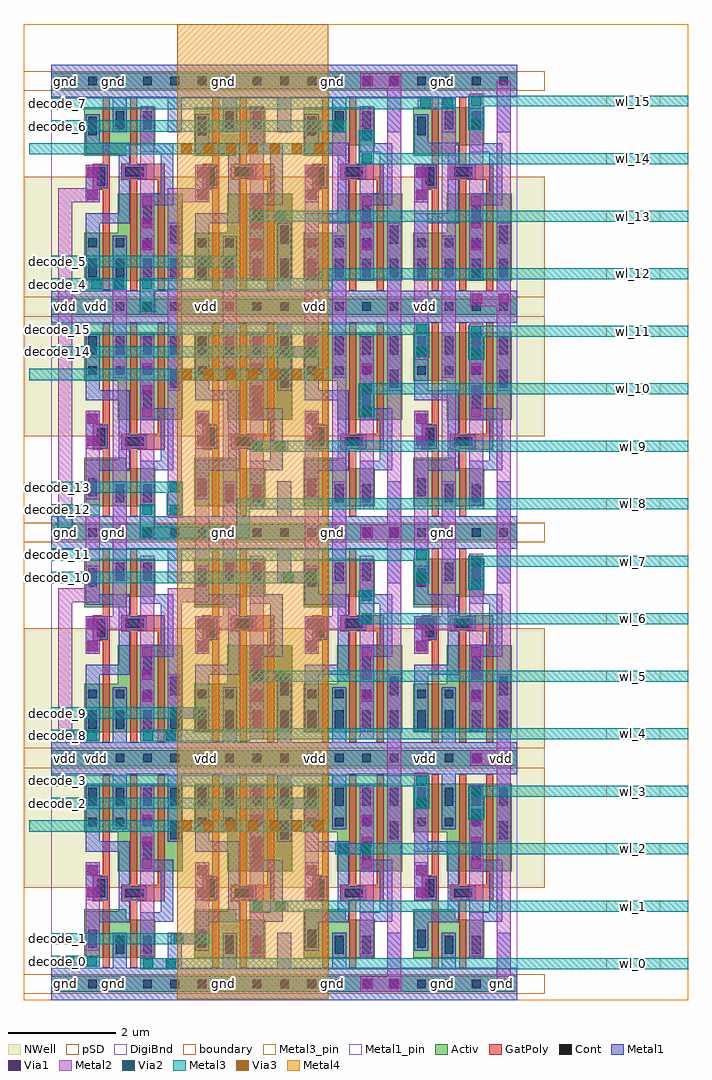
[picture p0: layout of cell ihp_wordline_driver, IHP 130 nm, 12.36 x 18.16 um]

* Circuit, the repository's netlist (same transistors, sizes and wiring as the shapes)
* ------------------------------------------------------
*
*		Copyright 2025 IHP PDK Authors
*
*		Licensed under the Apache License, Version 2.0 (the "License");
*		you may not use this file except in compliance with the License.
*		You may obtain a copy of the License at
*
*		   https://www.apache.org/licenses/LICENSE-2.0
*
*		Unless required by applicable law or agreed to in writing, software
*		distributed under the License is distributed on an "AS IS" BASIS,
*		WITHOUT WARRANTIES OR CONDITIONS OF ANY KIND, either express or implied.
*		See the License for the specific language governing permissions and
*		limitations under the License.
*
*		Generated on Thu Jul 30 11:38:32 2026
*
* ------------------------------------------------------
* Flattened from RM_IHPSG13_64x16_c2_1P_WLDRV16X4; unchanged W/L/m.
.subckt ihp_wordline_driver decode_15 decode_14 decode_13 decode_12 decode_11 decode_10 decode_9 decode_8 decode_7 decode_6 decode_5 decode_4 decode_3 decode_2 decode_1 decode_0 wl_15 wl_14 wl_13 wl_12 wl_11 wl_10 wl_9 wl_8 wl_7 wl_6 wl_5 wl_4 wl_3 wl_2 wl_1 wl_0 vdd gnd
Xinternal_XBUF<15>_MN1 wl_15 internal_XBUF<15>_net6 gnd gnd sg13_lv_nmos w=705.000n l=130.00n m=1
Xinternal_XBUF<15>_MN0 internal_XBUF<15>_net6 decode_15 gnd gnd sg13_lv_nmos w=900.0n l=130.00n m=1
Xinternal_XBUF<15>_MP1 wl_15 internal_XBUF<15>_net6 vdd vdd sg13_lv_pmos w=3.24u l=130.00n m=1
Xinternal_XBUF<15>_MP0 internal_XBUF<15>_net6 decode_15 vdd vdd sg13_lv_pmos w=900.0n l=130.00n m=1
Xinternal_XBUF<14>_MN1 wl_14 internal_XBUF<14>_net6 gnd gnd sg13_lv_nmos w=705.000n l=130.00n m=1
Xinternal_XBUF<14>_MN0 internal_XBUF<14>_net6 decode_14 gnd gnd sg13_lv_nmos w=900.0n l=130.00n m=1
Xinternal_XBUF<14>_MP1 wl_14 internal_XBUF<14>_net6 vdd vdd sg13_lv_pmos w=3.24u l=130.00n m=1
Xinternal_XBUF<14>_MP0 internal_XBUF<14>_net6 decode_14 vdd vdd sg13_lv_pmos w=900.0n l=130.00n m=1
Xinternal_XBUF<13>_MN1 wl_13 internal_XBUF<13>_net6 gnd gnd sg13_lv_nmos w=705.000n l=130.00n m=1
Xinternal_XBUF<13>_MN0 internal_XBUF<13>_net6 decode_13 gnd gnd sg13_lv_nmos w=900.0n l=130.00n m=1
Xinternal_XBUF<13>_MP1 wl_13 internal_XBUF<13>_net6 vdd vdd sg13_lv_pmos w=3.24u l=130.00n m=1
Xinternal_XBUF<13>_MP0 internal_XBUF<13>_net6 decode_13 vdd vdd sg13_lv_pmos w=900.0n l=130.00n m=1
Xinternal_XBUF<12>_MN1 wl_12 internal_XBUF<12>_net6 gnd gnd sg13_lv_nmos w=705.000n l=130.00n m=1
Xinternal_XBUF<12>_MN0 internal_XBUF<12>_net6 decode_12 gnd gnd sg13_lv_nmos w=900.0n l=130.00n m=1
Xinternal_XBUF<12>_MP1 wl_12 internal_XBUF<12>_net6 vdd vdd sg13_lv_pmos w=3.24u l=130.00n m=1
Xinternal_XBUF<12>_MP0 internal_XBUF<12>_net6 decode_12 vdd vdd sg13_lv_pmos w=900.0n l=130.00n m=1
Xinternal_XBUF<11>_MN1 wl_11 internal_XBUF<11>_net6 gnd gnd sg13_lv_nmos w=705.000n l=130.00n m=1
Xinternal_XBUF<11>_MN0 internal_XBUF<11>_net6 decode_11 gnd gnd sg13_lv_nmos w=900.0n l=130.00n m=1
Xinternal_XBUF<11>_MP1 wl_11 internal_XBUF<11>_net6 vdd vdd sg13_lv_pmos w=3.24u l=130.00n m=1
Xinternal_XBUF<11>_MP0 internal_XBUF<11>_net6 decode_11 vdd vdd sg13_lv_pmos w=900.0n l=130.00n m=1
Xinternal_XBUF<10>_MN1 wl_10 internal_XBUF<10>_net6 gnd gnd sg13_lv_nmos w=705.000n l=130.00n m=1
Xinternal_XBUF<10>_MN0 internal_XBUF<10>_net6 decode_10 gnd gnd sg13_lv_nmos w=900.0n l=130.00n m=1
Xinternal_XBUF<10>_MP1 wl_10 internal_XBUF<10>_net6 vdd vdd sg13_lv_pmos w=3.24u l=130.00n m=1
Xinternal_XBUF<10>_MP0 internal_XBUF<10>_net6 decode_10 vdd vdd sg13_lv_pmos w=900.0n l=130.00n m=1
Xinternal_XBUF<9>_MN1 wl_9 internal_XBUF<9>_net6 gnd gnd sg13_lv_nmos w=705.000n l=130.00n m=1
Xinternal_XBUF<9>_MN0 internal_XBUF<9>_net6 decode_9 gnd gnd sg13_lv_nmos w=900.0n l=130.00n m=1
Xinternal_XBUF<9>_MP1 wl_9 internal_XBUF<9>_net6 vdd vdd sg13_lv_pmos w=3.24u l=130.00n m=1
Xinternal_XBUF<9>_MP0 internal_XBUF<9>_net6 decode_9 vdd vdd sg13_lv_pmos w=900.0n l=130.00n m=1
Xinternal_XBUF<8>_MN1 wl_8 internal_XBUF<8>_net6 gnd gnd sg13_lv_nmos w=705.000n l=130.00n m=1
Xinternal_XBUF<8>_MN0 internal_XBUF<8>_net6 decode_8 gnd gnd sg13_lv_nmos w=900.0n l=130.00n m=1
Xinternal_XBUF<8>_MP1 wl_8 internal_XBUF<8>_net6 vdd vdd sg13_lv_pmos w=3.24u l=130.00n m=1
Xinternal_XBUF<8>_MP0 internal_XBUF<8>_net6 decode_8 vdd vdd sg13_lv_pmos w=900.0n l=130.00n m=1
Xinternal_XBUF<7>_MN1 wl_7 internal_XBUF<7>_net6 gnd gnd sg13_lv_nmos w=705.000n l=130.00n m=1
Xinternal_XBUF<7>_MN0 internal_XBUF<7>_net6 decode_7 gnd gnd sg13_lv_nmos w=900.0n l=130.00n m=1
Xinternal_XBUF<7>_MP1 wl_7 internal_XBUF<7>_net6 vdd vdd sg13_lv_pmos w=3.24u l=130.00n m=1
Xinternal_XBUF<7>_MP0 internal_XBUF<7>_net6 decode_7 vdd vdd sg13_lv_pmos w=900.0n l=130.00n m=1
Xinternal_XBUF<6>_MN1 wl_6 internal_XBUF<6>_net6 gnd gnd sg13_lv_nmos w=705.000n l=130.00n m=1
Xinternal_XBUF<6>_MN0 internal_XBUF<6>_net6 decode_6 gnd gnd sg13_lv_nmos w=900.0n l=130.00n m=1
Xinternal_XBUF<6>_MP1 wl_6 internal_XBUF<6>_net6 vdd vdd sg13_lv_pmos w=3.24u l=130.00n m=1
Xinternal_XBUF<6>_MP0 internal_XBUF<6>_net6 decode_6 vdd vdd sg13_lv_pmos w=900.0n l=130.00n m=1
Xinternal_XBUF<5>_MN1 wl_5 internal_XBUF<5>_net6 gnd gnd sg13_lv_nmos w=705.000n l=130.00n m=1
Xinternal_XBUF<5>_MN0 internal_XBUF<5>_net6 decode_5 gnd gnd sg13_lv_nmos w=900.0n l=130.00n m=1
Xinternal_XBUF<5>_MP1 wl_5 internal_XBUF<5>_net6 vdd vdd sg13_lv_pmos w=3.24u l=130.00n m=1
Xinternal_XBUF<5>_MP0 internal_XBUF<5>_net6 decode_5 vdd vdd sg13_lv_pmos w=900.0n l=130.00n m=1
Xinternal_XBUF<4>_MN1 wl_4 internal_XBUF<4>_net6 gnd gnd sg13_lv_nmos w=705.000n l=130.00n m=1
Xinternal_XBUF<4>_MN0 internal_XBUF<4>_net6 decode_4 gnd gnd sg13_lv_nmos w=900.0n l=130.00n m=1
Xinternal_XBUF<4>_MP1 wl_4 internal_XBUF<4>_net6 vdd vdd sg13_lv_pmos w=3.24u l=130.00n m=1
Xinternal_XBUF<4>_MP0 internal_XBUF<4>_net6 decode_4 vdd vdd sg13_lv_pmos w=900.0n l=130.00n m=1
Xinternal_XBUF<3>_MN1 wl_3 internal_XBUF<3>_net6 gnd gnd sg13_lv_nmos w=705.000n l=130.00n m=1
Xinternal_XBUF<3>_MN0 internal_XBUF<3>_net6 decode_3 gnd gnd sg13_lv_nmos w=900.0n l=130.00n m=1
Xinternal_XBUF<3>_MP1 wl_3 internal_XBUF<3>_net6 vdd vdd sg13_lv_pmos w=3.24u l=130.00n m=1
Xinternal_XBUF<3>_MP0 internal_XBUF<3>_net6 decode_3 vdd vdd sg13_lv_pmos w=900.0n l=130.00n m=1
Xinternal_XBUF<2>_MN1 wl_2 internal_XBUF<2>_net6 gnd gnd sg13_lv_nmos w=705.000n l=130.00n m=1
Xinternal_XBUF<2>_MN0 internal_XBUF<2>_net6 decode_2 gnd gnd sg13_lv_nmos w=900.0n l=130.00n m=1
Xinternal_XBUF<2>_MP1 wl_2 internal_XBUF<2>_net6 vdd vdd sg13_lv_pmos w=3.24u l=130.00n m=1
Xinternal_XBUF<2>_MP0 internal_XBUF<2>_net6 decode_2 vdd vdd sg13_lv_pmos w=900.0n l=130.00n m=1
Xinternal_XBUF<1>_MN1 wl_1 internal_XBUF<1>_net6 gnd gnd sg13_lv_nmos w=705.000n l=130.00n m=1
Xinternal_XBUF<1>_MN0 internal_XBUF<1>_net6 decode_1 gnd gnd sg13_lv_nmos w=900.0n l=130.00n m=1
Xinternal_XBUF<1>_MP1 wl_1 internal_XBUF<1>_net6 vdd vdd sg13_lv_pmos w=3.24u l=130.00n m=1
Xinternal_XBUF<1>_MP0 internal_XBUF<1>_net6 decode_1 vdd vdd sg13_lv_pmos w=900.0n l=130.00n m=1
Xinternal_XBUF<0>_MN1 wl_0 internal_XBUF<0>_net6 gnd gnd sg13_lv_nmos w=705.000n l=130.00n m=1
Xinternal_XBUF<0>_MN0 internal_XBUF<0>_net6 decode_0 gnd gnd sg13_lv_nmos w=900.0n l=130.00n m=1
Xinternal_XBUF<0>_MP1 wl_0 internal_XBUF<0>_net6 vdd vdd sg13_lv_pmos w=3.24u l=130.00n m=1
Xinternal_XBUF<0>_MP0 internal_XBUF<0>_net6 decode_0 vdd vdd sg13_lv_pmos w=900.0n l=130.00n m=1
.ends ihp_wordline_driver

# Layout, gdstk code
import gdstk
lib = gdstk.Library(unit=1e-6, precision=1e-09)
def R(c, l, rs):  # rectangles x0, y0, x1, y1
    for r in rs: c.add(gdstk.rectangle(r[:2], r[2:], *l))
def A(c, l, x, y, w, h, nx, ny, dx, dy):  # array of equal rectangles
    R(c, l, [(x+i*dx, y+j*dy, x+i*dx+w, y+j*dy+h) for i in range(nx) for j in range(ny)])
def P(c, l, *ps):  # polygons
    for p in ps: c.add(gdstk.Polygon(p, *l))
Activ = (1, 0)
GatPoly = (5, 0)
Cont = (6, 0)
Metal1 = (8, 0)
Metal1_pin = (8, 2)
Metal2 = (10, 0)
pSD = (14, 0)
DigiBnd = (16, 0)
Via1 = (19, 0)
Via2 = (29, 0)
Metal3 = (30, 0)
Metal3_pin = (30, 2)
NWell = (31, 0)
Via3 = (49, 0)
Metal4 = (50, 0)
boundary = (189, 4)

ihp_wordline_driver = lib.new_cell('ihp_wordline_driver')
A(ihp_wordline_driver, Activ, 0.51, 0.15, 8.67, 0.3, 1, 5, 0, 4.2)
P(ihp_wordline_driver, Activ, [(1.125,0.79),(1.125,1.69),(1.905,1.69),(1.905,1.495),(2.445,1.495),(2.445,0.79)],
  [(3.165,0.79),(3.165,1.69),(3.945,1.69),(3.945,1.495),(4.485,1.495),(4.485,0.79)],
  [(5.205,0.79),(5.205,1.69),(5.985,1.69),(5.985,1.495),(6.525,1.495),(6.525,0.79)],
  [(7.245,0.79),(7.245,1.69),(8.025,1.69),(8.025,1.495),(8.565,1.495),(8.565,0.79)],
  [(1.745,2.4),(1.745,3.12),(1.125,3.12),(1.125,4.02),(2.955,4.02),(2.955,2.4)],
  [(3.785,2.4),(3.785,3.12),(3.165,3.12),(3.165,4.02),(4.995,4.02),(4.995,2.4)],
  [(5.825,2.4),(5.825,3.12),(5.205,3.12),(5.205,4.02),(7.035,4.02),(7.035,2.4)],
  [(7.865,2.4),(7.865,3.12),(7.245,3.12),(7.245,4.02),(9.075,4.02),(9.075,2.4)],
  [(1.125,4.98),(1.125,5.88),(1.745,5.88),(1.745,6.6),(2.955,6.6),(2.955,4.98)],
  [(3.165,4.98),(3.165,5.88),(3.785,5.88),(3.785,6.6),(4.995,6.6),(4.995,4.98)],
  [(5.205,4.98),(5.205,5.88),(5.825,5.88),(5.825,6.6),(7.035,6.6),(7.035,4.98)],
  [(7.245,4.98),(7.245,5.88),(7.865,5.88),(7.865,6.6),(9.075,6.6),(9.075,4.98)],
  [(1.125,7.31),(1.125,8.21),(2.445,8.21),(2.445,7.505),(1.905,7.505),(1.905,7.31)],
  [(3.165,7.31),(3.165,8.21),(4.485,8.21),(4.485,7.505),(3.945,7.505),(3.945,7.31)],
  [(5.205,7.31),(5.205,8.21),(6.525,8.21),(6.525,7.505),(5.985,7.505),(5.985,7.31)],
  [(7.245,7.31),(7.245,8.21),(8.565,8.21),(8.565,7.505),(8.025,7.505),(8.025,7.31)],
  [(1.125,9.19),(1.125,10.09),(1.905,10.09),(1.905,9.895),(2.445,9.895),(2.445,9.19)],
  [(3.165,9.19),(3.165,10.09),(3.945,10.09),(3.945,9.895),(4.485,9.895),(4.485,9.19)],
  [(5.205,9.19),(5.205,10.09),(5.985,10.09),(5.985,9.895),(6.525,9.895),(6.525,9.19)],
  [(7.245,9.19),(7.245,10.09),(8.025,10.09),(8.025,9.895),(8.565,9.895),(8.565,9.19)],
  [(1.745,10.8),(1.745,11.52),(1.125,11.52),(1.125,12.42),(2.955,12.42),(2.955,10.8)],
  [(3.785,10.8),(3.785,11.52),(3.165,11.52),(3.165,12.42),(4.995,12.42),(4.995,10.8)],
  [(5.825,10.8),(5.825,11.52),(5.205,11.52),(5.205,12.42),(7.035,12.42),(7.035,10.8)],
  [(7.865,10.8),(7.865,11.52),(7.245,11.52),(7.245,12.42),(9.075,12.42),(9.075,10.8)],
  [(1.125,13.38),(1.125,14.28),(1.745,14.28),(1.745,15),(2.955,15),(2.955,13.38)],
  [(3.165,13.38),(3.165,14.28),(3.785,14.28),(3.785,15),(4.995,15),(4.995,13.38)],
  [(5.205,13.38),(5.205,14.28),(5.825,14.28),(5.825,15),(7.035,15),(7.035,13.38)],
  [(7.245,13.38),(7.245,14.28),(7.865,14.28),(7.865,15),(9.075,15),(9.075,13.38)],
  [(1.125,15.71),(1.125,16.61),(2.445,16.61),(2.445,15.905),(1.905,15.905),(1.905,15.71)],
  [(3.165,15.71),(3.165,16.61),(4.485,16.61),(4.485,15.905),(3.945,15.905),(3.945,15.71)],
  [(5.205,15.71),(5.205,16.61),(6.525,16.61),(6.525,15.905),(5.985,15.905),(5.985,15.71)],
  [(7.245,15.71),(7.245,16.61),(8.565,16.61),(8.565,15.905),(8.025,15.905),(8.025,15.71)])
P(ihp_wordline_driver, GatPoly, [(1.465,0.6),(1.465,1.84),(1.28,1.84),(1.28,2.32),(1.465,2.32),(1.465,4.2),(1.595,4.2),(1.595,0.6)],
  [(1.975,0.6),(1.975,1.84),(1.805,1.84),(1.805,2.14),(1.975,2.14),(1.975,4.2),(2.105,4.2),(2.105,2.14),(2.485,2.14),(2.485,4.2),(2.615,4.2),(2.615,1.84),(2.105,1.84),(2.105,0.6)],
  [(3.505,0.6),(3.505,1.84),(3.32,1.84),(3.32,2.32),(3.505,2.32),(3.505,4.2),(3.635,4.2),(3.635,0.6)],
  [(4.015,0.6),(4.015,1.84),(3.845,1.84),(3.845,2.14),(4.015,2.14),(4.015,4.2),(4.145,4.2),(4.145,2.14),(4.525,2.14),(4.525,4.2),(4.655,4.2),(4.655,1.84),(4.145,1.84),(4.145,0.6)],
  [(5.545,0.6),(5.545,1.84),(5.36,1.84),(5.36,2.32),(5.545,2.32),(5.545,4.2),(5.675,4.2),(5.675,0.6)],
  [(6.055,0.6),(6.055,1.84),(5.885,1.84),(5.885,2.14),(6.055,2.14),(6.055,4.2),(6.185,4.2),(6.185,2.14),(6.565,2.14),(6.565,4.2),(6.695,4.2),(6.695,1.84),(6.185,1.84),(6.185,0.6)],
  [(7.585,0.6),(7.585,1.84),(7.4,1.84),(7.4,2.32),(7.585,2.32),(7.585,4.2),(7.715,4.2),(7.715,0.6)],
  [(8.095,0.6),(8.095,1.84),(7.925,1.84),(7.925,2.14),(8.095,2.14),(8.095,4.2),(8.225,4.2),(8.225,2.14),(8.605,2.14),(8.605,4.2),(8.735,4.2),(8.735,1.84),(8.225,1.84),(8.225,0.6)],
  [(1.465,4.8),(1.465,6.68),(1.28,6.68),(1.28,7.16),(1.465,7.16),(1.465,8.4),(1.595,8.4),(1.595,4.8)],
  [(1.975,4.8),(1.975,6.86),(1.805,6.86),(1.805,7.16),(1.975,7.16),(1.975,8.4),(2.105,8.4),(2.105,7.16),(2.615,7.16),(2.615,4.8),(2.485,4.8),(2.485,6.86),(2.105,6.86),(2.105,4.8)],
  [(3.505,4.8),(3.505,6.68),(3.32,6.68),(3.32,7.16),(3.505,7.16),(3.505,8.4),(3.635,8.4),(3.635,4.8)],
  [(4.015,4.8),(4.015,6.86),(3.845,6.86),(3.845,7.16),(4.015,7.16),(4.015,8.4),(4.145,8.4),(4.145,7.16),(4.655,7.16),(4.655,4.8),(4.525,4.8),(4.525,6.86),(4.145,6.86),(4.145,4.8)],
  [(5.545,4.8),(5.545,6.68),(5.36,6.68),(5.36,7.16),(5.545,7.16),(5.545,8.4),(5.675,8.4),(5.675,4.8)],
  [(6.055,4.8),(6.055,6.86),(5.885,6.86),(5.885,7.16),(6.055,7.16),(6.055,8.4),(6.185,8.4),(6.185,7.16),(6.695,7.16),(6.695,4.8),(6.565,4.8),(6.565,6.86),(6.185,6.86),(6.185,4.8)],
  [(7.585,4.8),(7.585,6.68),(7.4,6.68),(7.4,7.16),(7.585,7.16),(7.585,8.4),(7.715,8.4),(7.715,4.8)],
  [(8.095,4.8),(8.095,6.86),(7.925,6.86),(7.925,7.16),(8.095,7.16),(8.095,8.4),(8.225,8.4),(8.225,7.16),(8.735,7.16),(8.735,4.8),(8.605,4.8),(8.605,6.86),(8.225,6.86),(8.225,4.8)],
  [(1.465,9),(1.465,10.24),(1.28,10.24),(1.28,10.72),(1.465,10.72),(1.465,12.6),(1.595,12.6),(1.595,9)],
  [(1.975,9),(1.975,10.24),(1.805,10.24),(1.805,10.54),(1.975,10.54),(1.975,12.6),(2.105,12.6),(2.105,10.54),(2.485,10.54),(2.485,12.6),(2.615,12.6),(2.615,10.24),(2.105,10.24),(2.105,9)],
  [(3.505,9),(3.505,10.24),(3.32,10.24),(3.32,10.72),(3.505,10.72),(3.505,12.6),(3.635,12.6),(3.635,9)],
  [(4.015,9),(4.015,10.24),(3.845,10.24),(3.845,10.54),(4.015,10.54),(4.015,12.6),(4.145,12.6),(4.145,10.54),(4.525,10.54),(4.525,12.6),(4.655,12.6),(4.655,10.24),(4.145,10.24),(4.145,9)],
  [(5.545,9),(5.545,10.24),(5.36,10.24),(5.36,10.72),(5.545,10.72),(5.545,12.6),(5.675,12.6),(5.675,9)],
  [(6.055,9),(6.055,10.24),(5.885,10.24),(5.885,10.54),(6.055,10.54),(6.055,12.6),(6.185,12.6),(6.185,10.54),(6.565,10.54),(6.565,12.6),(6.695,12.6),(6.695,10.24),(6.185,10.24),(6.185,9)],
  [(7.585,9),(7.585,10.24),(7.4,10.24),(7.4,10.72),(7.585,10.72),(7.585,12.6),(7.715,12.6),(7.715,9)],
  [(8.095,9),(8.095,10.24),(7.925,10.24),(7.925,10.54),(8.095,10.54),(8.095,12.6),(8.225,12.6),(8.225,10.54),(8.605,10.54),(8.605,12.6),(8.735,12.6),(8.735,10.24),(8.225,10.24),(8.225,9)],
  [(1.465,13.2),(1.465,15.08),(1.28,15.08),(1.28,15.56),(1.465,15.56),(1.465,16.8),(1.595,16.8),(1.595,13.2)],
  [(1.975,13.2),(1.975,15.26),(1.805,15.26),(1.805,15.56),(1.975,15.56),(1.975,16.8),(2.105,16.8),(2.105,15.56),(2.615,15.56),(2.615,13.2),(2.485,13.2),(2.485,15.26),(2.105,15.26),(2.105,13.2)],
  [(3.505,13.2),(3.505,15.08),(3.32,15.08),(3.32,15.56),(3.505,15.56),(3.505,16.8),(3.635,16.8),(3.635,13.2)],
  [(4.015,13.2),(4.015,15.26),(3.845,15.26),(3.845,15.56),(4.015,15.56),(4.015,16.8),(4.145,16.8),(4.145,15.56),(4.655,15.56),(4.655,13.2),(4.525,13.2),(4.525,15.26),(4.145,15.26),(4.145,13.2)],
  [(5.545,13.2),(5.545,15.08),(5.36,15.08),(5.36,15.56),(5.545,15.56),(5.545,16.8),(5.675,16.8),(5.675,13.2)],
  [(6.055,13.2),(6.055,15.26),(5.885,15.26),(5.885,15.56),(6.055,15.56),(6.055,16.8),(6.185,16.8),(6.185,15.56),(6.695,15.56),(6.695,13.2),(6.565,13.2),(6.565,15.26),(6.185,15.26),(6.185,13.2)],
  [(7.585,13.2),(7.585,15.08),(7.4,15.08),(7.4,15.56),(7.585,15.56),(7.585,16.8),(7.715,16.8),(7.715,13.2)],
  [(8.095,13.2),(8.095,15.26),(7.925,15.26),(7.925,15.56),(8.095,15.56),(8.095,16.8),(8.225,16.8),(8.225,15.56),(8.735,15.56),(8.735,13.2),(8.605,13.2),(8.605,15.26),(8.225,15.26),(8.225,13.2)])
A(ihp_wordline_driver, Cont, 0.685, 0.22, 0.16, 0.16, 17, 5, 0.51, 4.2)
A(ihp_wordline_driver, Cont, 1.195, 0.97, 0.16, 0.34, 4, 2, 2.04, 6.72)
A(ihp_wordline_driver, Cont, 1.35, 1.91, 0.16, 0.34, 4, 2, 2.04, 4.84)
A(ihp_wordline_driver, Cont, 1.885, 1.91, 0.34, 0.16, 4, 2, 2.04, 5.02)
A(ihp_wordline_driver, Cont, 2.215, 2.61, 0.16, 0.34, 4, 2, 2.04, 3.44)
A(ihp_wordline_driver, Cont, 2.725, 2.99, 0.16, 0.34, 4, 2, 2.04, 2.68)
A(ihp_wordline_driver, Cont, 1.195, 3.23, 0.16, 0.16, 3, 2, 0.51, 2.38)
A(ihp_wordline_driver, Cont, 3.235, 3.23, 0.16, 0.16, 3, 2, 0.51, 2.38)
A(ihp_wordline_driver, Cont, 5.275, 3.23, 0.16, 0.16, 3, 2, 0.51, 2.38)
A(ihp_wordline_driver, Cont, 7.315, 3.23, 0.16, 0.16, 3, 2, 0.51, 2.38)
A(ihp_wordline_driver, Cont, 1.195, 3.61, 0.16, 0.34, 16, 2, 0.51, 1.44)
A(ihp_wordline_driver, Cont, 1.195, 9.37, 0.16, 0.34, 4, 2, 2.04, 6.72)
A(ihp_wordline_driver, Cont, 1.35, 10.31, 0.16, 0.34, 4, 2, 2.04, 4.84)
A(ihp_wordline_driver, Cont, 1.885, 10.31, 0.34, 0.16, 4, 2, 2.04, 5.02)
A(ihp_wordline_driver, Cont, 2.215, 11.01, 0.16, 0.34, 4, 2, 2.04, 3.44)
A(ihp_wordline_driver, Cont, 2.725, 11.39, 0.16, 0.34, 4, 2, 2.04, 2.68)
A(ihp_wordline_driver, Cont, 1.195, 11.63, 0.16, 0.16, 3, 2, 0.51, 2.38)
A(ihp_wordline_driver, Cont, 3.235, 11.63, 0.16, 0.16, 3, 2, 0.51, 2.38)
A(ihp_wordline_driver, Cont, 5.275, 11.63, 0.16, 0.16, 3, 2, 0.51, 2.38)
A(ihp_wordline_driver, Cont, 7.315, 11.63, 0.16, 0.16, 3, 2, 0.51, 2.38)
A(ihp_wordline_driver, Cont, 1.195, 12.01, 0.16, 0.34, 16, 2, 0.51, 1.44)
R(ihp_wordline_driver, Cont, [(1.705,0.86,1.865,1.2), (2.215,0.86,2.375,1.2), (3.745,0.86,3.905,1.2), (4.255,0.86,4.415,1.2), (5.785,0.86,5.945,1.2), (6.295,0.86,6.455,1.2), (7.825,0.86,7.985,1.2), (8.335,0.86,8.495,1.2), (1.705,7.8,1.865,8.14), (2.215,7.8,2.375,8.14), (3.745,7.8,3.905,8.14), (4.255,7.8,4.415,8.14), (5.785,7.8,5.945,8.14), (6.295,7.8,6.455,8.14), (7.825,7.8,7.985,8.14), (8.335,7.8,8.495,8.14), (1.705,9.26,1.865,9.6), (2.215,9.26,2.375,9.6), (3.745,9.26,3.905,9.6), (4.255,9.26,4.415,9.6), (5.785,9.26,5.945,9.6), (6.295,9.26,6.455,9.6), (7.825,9.26,7.985,9.6), (8.335,9.26,8.495,9.6), (1.705,16.2,1.865,16.54), (2.215,16.2,2.375,16.54), (3.745,16.2,3.905,16.54), (4.255,16.2,4.415,16.54), (5.785,16.2,5.945,16.54), (6.295,16.2,6.455,16.54), (7.825,16.2,7.985,16.54), (8.335,16.2,8.495,16.54)])
A(ihp_wordline_driver, Metal1, 0.51, 0, 8.67, 0.6, 1, 5, 0, 4.2)
A(ihp_wordline_driver, Metal1, 1.655, 0.6, 0.26, 0.65, 8, 2, 1.02, 7.15)
A(ihp_wordline_driver, Metal1, 2.165, 0.81, 0.26, 0.645, 4, 2, 2.04, 6.735)
A(ihp_wordline_driver, Metal1, 1.145, 0.92, 0.26, 0.53, 4, 2, 2.04, 6.63)
A(ihp_wordline_driver, Metal1, 1.145, 1.45, 0.82, 0.2, 4, 2, 2.04, 5.9)
A(ihp_wordline_driver, Metal1, 2.165, 1.455, 0.61, 0.175, 4, 2, 2.04, 5.915)
A(ihp_wordline_driver, Metal1, 2.54, 1.63, 0.235, 0.76, 4, 2, 2.04, 4.98)
A(ihp_wordline_driver, Metal1, 1.76, 1.65, 0.205, 0.21, 4, 2, 2.04, 5.49)
A(ihp_wordline_driver, Metal1, 1.145, 1.86, 0.415, 0.44, 4, 2, 2.04, 4.84)
A(ihp_wordline_driver, Metal1, 1.76, 1.86, 0.525, 0.26, 4, 2, 2.04, 5.02)
A(ihp_wordline_driver, Metal1, 1.76, 2.12, 0.205, 0.64, 4, 2, 2.04, 4.12)
A(ihp_wordline_driver, Metal1, 1.145, 2.3, 0.26, 0.26, 4, 2, 2.04, 4.14)
A(ihp_wordline_driver, Metal1, 2.165, 2.39, 0.61, 0.22, 4, 2, 2.04, 4)
A(ihp_wordline_driver, Metal1, 2.165, 2.61, 0.26, 1.39, 4, 2, 2.04, 2.39)
A(ihp_wordline_driver, Metal1, 1.145, 2.76, 0.82, 0.19, 4, 2, 2.04, 3.29)
A(ihp_wordline_driver, Metal1, 2.675, 2.94, 0.26, 1.26, 4, 2, 2.04, 1.86)
A(ihp_wordline_driver, Metal1, 1.145, 2.95, 0.26, 1.05, 4, 2, 2.04, 2.05)
A(ihp_wordline_driver, Metal1, 1.655, 3.18, 0.26, 1.02, 4, 2, 2.04, 1.62)
A(ihp_wordline_driver, Metal1, 1.655, 9, 0.26, 0.65, 8, 2, 1.02, 7.15)
A(ihp_wordline_driver, Metal1, 2.165, 9.21, 0.26, 0.645, 4, 2, 2.04, 6.735)
A(ihp_wordline_driver, Metal1, 1.145, 9.32, 0.26, 0.53, 4, 2, 2.04, 6.63)
A(ihp_wordline_driver, Metal1, 1.145, 9.85, 0.82, 0.2, 4, 2, 2.04, 5.9)
A(ihp_wordline_driver, Metal1, 2.165, 9.855, 0.61, 0.175, 4, 2, 2.04, 5.915)
A(ihp_wordline_driver, Metal1, 2.54, 10.03, 0.235, 0.76, 4, 2, 2.04, 4.98)
A(ihp_wordline_driver, Metal1, 1.76, 10.05, 0.205, 0.21, 4, 2, 2.04, 5.49)
A(ihp_wordline_driver, Metal1, 1.145, 10.26, 0.415, 0.44, 4, 2, 2.04, 4.84)
A(ihp_wordline_driver, Metal1, 1.76, 10.26, 0.525, 0.26, 4, 2, 2.04, 5.02)
A(ihp_wordline_driver, Metal1, 1.76, 10.52, 0.205, 0.64, 4, 2, 2.04, 4.12)
A(ihp_wordline_driver, Metal1, 1.145, 10.7, 0.26, 0.26, 4, 2, 2.04, 4.14)
A(ihp_wordline_driver, Metal1, 2.165, 10.79, 0.61, 0.22, 4, 2, 2.04, 4)
A(ihp_wordline_driver, Metal1, 2.165, 11.01, 0.26, 1.39, 4, 2, 2.04, 2.39)
A(ihp_wordline_driver, Metal1, 1.145, 11.16, 0.82, 0.19, 4, 2, 2.04, 3.29)
A(ihp_wordline_driver, Metal1, 2.675, 11.34, 0.26, 1.26, 4, 2, 2.04, 1.86)
A(ihp_wordline_driver, Metal1, 1.145, 11.35, 0.26, 1.05, 4, 2, 2.04, 2.05)
A(ihp_wordline_driver, Metal1, 1.655, 11.58, 0.26, 1.02, 4, 2, 2.04, 1.62)
A(ihp_wordline_driver, Metal1_pin, 0.51, 0, 8.67, 0.6, 1, 5, 0, 4.2)
A(ihp_wordline_driver, Metal1_pin, 1.3, 1.86, 0.26, 0.44, 4, 2, 2.04, 4.84)
A(ihp_wordline_driver, Metal1_pin, 2.165, 2.415, 0.26, 1.585, 4, 2, 2.04, 2.585)
A(ihp_wordline_driver, Metal1_pin, 1.3, 10.26, 0.26, 0.44, 4, 2, 2.04, 4.84)
A(ihp_wordline_driver, Metal1_pin, 2.165, 10.815, 0.26, 1.585, 4, 2, 2.04, 2.585)
A(ihp_wordline_driver, Metal2, 6.26, 0.155, 0.755, 0.29, 1, 3, 0, 8.4)
A(ihp_wordline_driver, Metal2, 4.775, 3.555, 0.71, 0.21, 1, 3, 0, 4.2)
A(ihp_wordline_driver, Metal2, 4.205, 4.855, 0.26, 1.07, 1, 3, 0, 4.28)
A(ihp_wordline_driver, Metal2, 4.205, 5.925, 0.71, 0.2, 1, 3, 0, 4.28)
A(ihp_wordline_driver, Metal2, 1.145, 6.44, 0.26, 0.44, 4, 1, 2.04, 0)
A(ihp_wordline_driver, Metal2, 1.145, 6.88, 0.77, 0.26, 4, 1, 2.04, 0)
R(ihp_wordline_driver, Metal2, [(8.795,0.3,9.055,4.355), (6.755,0.445,7.015,8.555), (2.165,0.57,2.875,0.78), (0.695,0.615,1.405,0.825), (4.205,0.775,4.465,1.64), (6.245,0.775,6.505,2.715), (8.285,0.775,8.545,4.025), (2.165,0.78,2.425,3.985), (1.145,0.825,1.405,2.56), (2.735,1.035,3.445,1.245), (3.185,1.245,3.445,2.56), (4.205,1.64,4.915,1.85), (4.205,1.85,4.465,3.985), (5.225,1.86,5.485,3.555), (7.265,1.86,7.525,4.225), (5.795,2.715,6.505,2.915), (6.245,2.915,6.505,3.985), (8.3,4.355,9.055,4.645), (8.795,4.645,9.055,12.905), (0.635,4.815,1.405,5.025), (2.165,4.815,2.875,5.025), (6.245,4.855,6.505,8.265), (0.635,5.025,0.895,7.4), (2.165,5.025,2.425,8.265), (8.285,5.055,8.545,8.305), (2.675,5.235,3.385,5.445), (2.675,5.445,2.935,7.4), (4.205,6.125,4.465,8.265), (1.655,7.14,1.915,13.215), (3.695,7.14,3.955,13.635), (5.735,7.14,5.995,16.155), (7.775,7.14,8.035,16.575), (0.635,7.4,1.405,7.66), (2.675,7.4,3.445,7.66), (1.145,7.66,1.405,10.96), (3.185,7.66,3.445,10.96), (7.265,7.715,7.525,10.96), (5.225,7.965,5.485,10.96), (0.635,8.555,0.895,14.84), (2.165,8.555,2.425,12.345), (6.755,8.845,7.015,16.955), (2.675,8.975,2.935,14.84), (6.245,9.135,6.505,12.345), (8.285,9.135,8.545,12.585), (4.205,10.405,4.465,12.345), (7.265,11.915,7.525,15.54), (5.225,12.165,5.485,15.54), (2.165,12.755,2.425,16.625), (8.3,12.905,9.055,13.195), (8.795,13.195,9.055,17.1), (1.205,13.215,1.915,13.425), (6.245,13.415,6.505,16.625), (8.285,13.615,8.545,16.865), (3.245,13.635,3.955,13.845), (4.205,14.685,4.465,16.625), (0.635,14.84,1.405,15.1), (2.675,14.84,3.445,15.1), (1.145,15.1,1.405,15.54), (3.185,15.1,3.445,15.54), (5.285,16.155,5.995,16.365), (7.325,16.575,8.035,16.785)])
A(ihp_wordline_driver, pSD, 0, 0.12, 9.69, 0.36, 1, 3, 0, 8.4)
R(ihp_wordline_driver, pSD, [(0,2.085,9.69,4.32), (0,4.68,9.69,6.915), (0,10.485,9.69,12.72), (0,13.08,9.69,15.315)])
R(ihp_wordline_driver, DigiBnd, [(0.51,0,9.18,17.4)])
A(ihp_wordline_driver, Via1, 6.295, 0.205, 0.19, 0.19, 1, 3, 0, 8.4)
A(ihp_wordline_driver, Via1, 6.79, 0.205, 0.19, 0.19, 1, 3, 0, 8.4)
A(ihp_wordline_driver, Via1, 1.18, 1.91, 0.19, 0.19, 4, 2, 2.04, 0.41)
A(ihp_wordline_driver, Via1, 2.2, 2.44, 0.19, 0.19, 4, 3, 2.04, 0.41)
A(ihp_wordline_driver, Via1, 2.2, 5.55, 0.19, 0.19, 4, 3, 2.04, 0.41)
A(ihp_wordline_driver, Via1, 1.18, 6.49, 0.19, 0.19, 4, 2, 2.04, 0.41)
A(ihp_wordline_driver, Via1, 1.18, 10.31, 0.19, 0.19, 4, 2, 2.04, 0.41)
A(ihp_wordline_driver, Via1, 2.2, 10.84, 0.19, 0.19, 4, 3, 2.04, 0.41)
A(ihp_wordline_driver, Via1, 2.2, 13.95, 0.19, 0.19, 4, 3, 2.04, 0.41)
A(ihp_wordline_driver, Via1, 1.18, 14.89, 0.19, 0.19, 4, 2, 2.04, 0.41)
R(ihp_wordline_driver, Via1, [(8.335,4.405,8.525,4.595), (8.83,4.405,9.02,4.595), (8.335,12.955,8.525,13.145), (8.83,12.955,9.02,13.145)])
A(ihp_wordline_driver, Via2, 4.255, 1.65, 0.19, 0.19, 1, 4, 0, 4.28)
A(ihp_wordline_driver, Via2, 4.675, 1.65, 0.19, 0.19, 1, 4, 0, 4.28)
A(ihp_wordline_driver, Via2, 4.825, 3.565, 0.19, 0.19, 1, 3, 0, 4.2)
A(ihp_wordline_driver, Via2, 5.245, 3.565, 0.19, 0.19, 1, 3, 0, 4.2)
R(ihp_wordline_driver, Via2, [(2.215,0.58,2.405,0.77), (2.635,0.58,2.825,0.77), (0.745,0.625,0.935,0.815), (1.165,0.625,1.355,0.815), (2.785,1.045,2.975,1.235), (3.205,1.045,3.395,1.235), (5.845,2.72,6.035,2.91), (6.265,2.72,6.455,2.91), (8.32,3.365,8.51,3.555), (7.3,3.565,7.49,3.755), (8.32,3.785,8.51,3.975), (7.3,3.985,7.49,4.175), (0.745,4.825,0.935,5.015), (1.165,4.825,1.355,5.015), (2.215,4.825,2.405,5.015), (2.635,4.825,2.825,5.015), (2.725,5.245,2.915,5.435), (3.145,5.245,3.335,5.435), (6.28,7.005,6.47,7.195), (6.28,7.425,6.47,7.615), (8.32,7.645,8.51,7.835), (7.3,7.765,7.49,7.955), (8.32,8.065,8.51,8.255), (7.3,8.185,7.49,8.375), (0.67,8.605,0.86,8.795), (2.2,8.605,2.39,8.795), (0.67,9.025,0.86,9.215), (2.2,9.025,2.39,9.215), (2.71,9.025,2.9,9.215), (2.71,9.445,2.9,9.635), (6.28,10.855,6.47,11.045), (6.28,11.275,6.47,11.465), (8.32,11.925,8.51,12.115), (7.3,11.965,7.49,12.155), (8.32,12.345,8.51,12.535), (7.3,12.385,7.49,12.575), (2.2,12.805,2.39,12.995), (1.255,13.225,1.445,13.415), (1.675,13.225,1.865,13.415), (2.2,13.225,2.39,13.415), (3.295,13.645,3.485,13.835), (3.715,13.645,3.905,13.835), (6.28,15.565,6.47,15.755), (6.28,15.985,6.47,16.175), (5.335,16.165,5.525,16.355), (5.755,16.165,5.945,16.355), (8.32,16.205,8.51,16.395), (7.375,16.585,7.565,16.775), (7.795,16.585,7.985,16.775), (8.32,16.625,8.51,16.815)])
A(ihp_wordline_driver, Metal3, 0.51, 0.615, 0.895, 0.21, 1, 3, 0, 4.2)
A(ihp_wordline_driver, Metal3, 4.205, 1.645, 8.15, 0.2, 1, 4, 0, 4.28)
A(ihp_wordline_driver, Metal3, 8.27, 3.355, 0.29, 0.43, 1, 4, 0, 4.28)
A(ihp_wordline_driver, Metal3, 0.51, 3.555, 4.975, 0.21, 1, 3, 0, 4.2)
A(ihp_wordline_driver, Metal3, 7.25, 3.555, 0.29, 0.42, 1, 3, 0, 4.2)
A(ihp_wordline_driver, Metal3, 8.27, 3.785, 4.085, 0.2, 1, 4, 0, 4.28)
A(ihp_wordline_driver, Metal3, 0.51, 3.975, 7.03, 0.21, 1, 3, 0, 4.2)
A(ihp_wordline_driver, Metal3, 6.23, 6.995, 6.125, 0.2, 1, 3, 0, 4.28)
R(ihp_wordline_driver, Metal3, [(2.165,0.575,12.355,0.775), (0.51,1.035,3.445,1.245), (5.795,2.715,12.355,2.915), (0.1,3.135,5.66,3.345), (2.165,4.815,4.205,4.855), (2.165,4.855,12.355,5.025), (3.955,5.025,12.355,5.055), (0.51,5.235,3.385,5.445), (6.23,7.195,6.52,7.625), (0.62,8.595,0.91,9.015), (2.15,8.595,4.205,8.805), (2.15,8.805,2.44,9.225), (3.955,8.805,4.205,9.135), (2.66,9.015,2.95,9.435), (3.955,9.135,12.355,9.335), (0.51,9.435,2.95,9.645), (6.23,10.845,6.52,11.275), (0.1,11.535,5.66,11.745), (2.15,12.795,2.44,13.215), (0.51,13.215,1.915,13.425), (2.15,13.215,5.735,13.415), (2.15,13.415,12.355,13.425), (5.485,13.425,12.355,13.615), (0.51,13.635,3.955,13.845), (0.1,15.735,5.66,15.945), (6.23,15.755,6.52,16.185), (0.51,16.155,5.995,16.365), (0.51,16.575,8.035,16.785)])
A(ihp_wordline_driver, Metal3_pin, 10.835, 0.575, 1, 0.2, 1, 16, 0, 1.07)
R(ihp_wordline_driver, Metal3_pin, [(0.51,0.615,0.72,0.825), (0.51,1.035,0.72,1.245), (0.51,3.555,0.72,3.765), (0.51,3.975,0.72,4.185), (0.51,4.815,0.72,5.025), (0.51,5.235,0.72,5.445), (0.51,7.755,0.72,7.965), (0.51,8.175,0.72,8.385), (0.51,9.015,0.72,9.225), (0.51,9.435,0.72,9.645), (0.515,11.955,0.725,12.165), (0.515,12.375,0.725,12.585), (0.51,13.215,0.72,13.425), (0.51,13.635,0.72,13.845), (0.51,16.155,0.72,16.365), (0.51,16.575,0.72,16.785)])
R(ihp_wordline_driver, NWell, [(0,2.085,9.69,6.915), (0,10.485,9.69,15.315)])
A(ihp_wordline_driver, Via3, 2.93, 3.145, 0.19, 0.19, 7, 2, 0.41, 8.4)
A(ihp_wordline_driver, Via3, 2.93, 15.745, 0.19, 0.19, 7, 1, 0.41, 0)
R(ihp_wordline_driver, Metal4, [(2.85,0.02,5.66,18.16)])
R(ihp_wordline_driver, boundary, [(0,0,12.355,18.16)])
ihp_wordline_driver.add(gdstk.Label('gnd', (8.88,0.3), layer=8, texttype=25))
ihp_wordline_driver.add(gdstk.Label('vdd', (8.88,4.5), layer=8, texttype=25))
ihp_wordline_driver.add(gdstk.Label('gnd', (0.77,17.09), layer=8, texttype=25))
ihp_wordline_driver.add(gdstk.Label('vdd', (0.765,12.9), layer=8, texttype=25))
ihp_wordline_driver.add(gdstk.Label('gnd', (0.77,8.69), layer=8, texttype=25))
ihp_wordline_driver.add(gdstk.Label('vdd', (0.765,4.5), layer=8, texttype=25))
ihp_wordline_driver.add(gdstk.Label('gnd', (0.77,0.31), layer=8, texttype=25))
ihp_wordline_driver.add(gdstk.Label('vdd', (0.765,4.5), layer=8, texttype=25))
ihp_wordline_driver.add(gdstk.Label('gnd', (0.77,8.71), layer=8, texttype=25))
ihp_wordline_driver.add(gdstk.Label('vdd', (0.765,12.9), layer=8, texttype=25))
ihp_wordline_driver.add(gdstk.Label('vdd', (1.35,12.9), layer=8, texttype=25))
ihp_wordline_driver.add(gdstk.Label('gnd', (1.665,17.095), layer=8, texttype=25))
ihp_wordline_driver.add(gdstk.Label('vdd', (1.35,4.5), layer=8, texttype=25))
ihp_wordline_driver.add(gdstk.Label('gnd', (1.665,8.695), layer=8, texttype=25))
ihp_wordline_driver.add(gdstk.Label('vdd', (3.39,12.9), layer=8, texttype=25))
ihp_wordline_driver.add(gdstk.Label('gnd', (3.705,17.095), layer=8, texttype=25))
ihp_wordline_driver.add(gdstk.Label('vdd', (3.39,4.5), layer=8, texttype=25))
ihp_wordline_driver.add(gdstk.Label('gnd', (3.705,8.695), layer=8, texttype=25))
ihp_wordline_driver.add(gdstk.Label('vdd', (5.43,12.9), layer=8, texttype=25))
ihp_wordline_driver.add(gdstk.Label('gnd', (5.745,17.095), layer=8, texttype=25))
ihp_wordline_driver.add(gdstk.Label('vdd', (5.43,4.5), layer=8, texttype=25))
ihp_wordline_driver.add(gdstk.Label('gnd', (5.745,8.695), layer=8, texttype=25))
ihp_wordline_driver.add(gdstk.Label('vdd', (7.47,12.9), layer=8, texttype=25))
ihp_wordline_driver.add(gdstk.Label('gnd', (7.785,17.095), layer=8, texttype=25))
ihp_wordline_driver.add(gdstk.Label('vdd', (7.47,4.5), layer=8, texttype=25))
ihp_wordline_driver.add(gdstk.Label('gnd', (7.785,8.695), layer=8, texttype=25))
ihp_wordline_driver.add(gdstk.Label('vdd', (1.35,4.5), layer=8, texttype=25))
ihp_wordline_driver.add(gdstk.Label('gnd', (1.665,0.305), layer=8, texttype=25))
ihp_wordline_driver.add(gdstk.Label('vdd', (1.35,12.9), layer=8, texttype=25))
ihp_wordline_driver.add(gdstk.Label('gnd', (1.665,8.705), layer=8, texttype=25))
ihp_wordline_driver.add(gdstk.Label('vdd', (3.39,4.5), layer=8, texttype=25))
ihp_wordline_driver.add(gdstk.Label('gnd', (3.705,0.305), layer=8, texttype=25))
ihp_wordline_driver.add(gdstk.Label('vdd', (3.39,12.9), layer=8, texttype=25))
ihp_wordline_driver.add(gdstk.Label('gnd', (3.705,8.705), layer=8, texttype=25))
ihp_wordline_driver.add(gdstk.Label('vdd', (5.43,4.5), layer=8, texttype=25))
ihp_wordline_driver.add(gdstk.Label('gnd', (5.745,0.305), layer=8, texttype=25))
ihp_wordline_driver.add(gdstk.Label('vdd', (5.43,12.9), layer=8, texttype=25))
ihp_wordline_driver.add(gdstk.Label('gnd', (5.745,8.705), layer=8, texttype=25))
ihp_wordline_driver.add(gdstk.Label('vdd', (7.47,4.5), layer=8, texttype=25))
ihp_wordline_driver.add(gdstk.Label('gnd', (7.785,0.305), layer=8, texttype=25))
ihp_wordline_driver.add(gdstk.Label('vdd', (7.47,12.9), layer=8, texttype=25))
ihp_wordline_driver.add(gdstk.Label('gnd', (7.785,8.705), layer=8, texttype=25))
ihp_wordline_driver.add(gdstk.Label('decode_7', (0.615,16.68), layer=30, texttype=25))
ihp_wordline_driver.add(gdstk.Label('decode_9', (0.615,5.34), layer=30, texttype=25))
ihp_wordline_driver.add(gdstk.Label('decode_4', (0.615,13.32), layer=30, texttype=25))
ihp_wordline_driver.add(gdstk.Label('decode_5', (0.615,13.74), layer=30, texttype=25))
ihp_wordline_driver.add(gdstk.Label('decode_8', (0.615,4.92), layer=30, texttype=25))
ihp_wordline_driver.add(gdstk.Label('decode_6', (0.615,16.26), layer=30, texttype=25))
ihp_wordline_driver.add(gdstk.Label('decode_10', (0.615,7.86), layer=30, texttype=25))
ihp_wordline_driver.add(gdstk.Label('decode_11', (0.615,8.28), layer=30, texttype=25))
ihp_wordline_driver.add(gdstk.Label('decode_3', (0.615,4.08), layer=30, texttype=25))
ihp_wordline_driver.add(gdstk.Label('decode_14', (0.62,12.06), layer=30, texttype=25))
ihp_wordline_driver.add(gdstk.Label('decode_15', (0.62,12.48), layer=30, texttype=25))
ihp_wordline_driver.add(gdstk.Label('decode_0', (0.615,0.72), layer=30, texttype=25))
ihp_wordline_driver.add(gdstk.Label('decode_12', (0.615,9.12), layer=30, texttype=25))
ihp_wordline_driver.add(gdstk.Label('decode_13', (0.615,9.54), layer=30, texttype=25))
ihp_wordline_driver.add(gdstk.Label('decode_2', (0.615,3.66), layer=30, texttype=25))
ihp_wordline_driver.add(gdstk.Label('wl_15', (11.335,16.725), layer=30, texttype=25))
ihp_wordline_driver.add(gdstk.Label('decode_1', (0.615,1.14), layer=30, texttype=25))
ihp_wordline_driver.add(gdstk.Label('wl_0', (11.335,0.675), layer=30, texttype=25))
ihp_wordline_driver.add(gdstk.Label('wl_1', (11.335,1.745), layer=30, texttype=25))
ihp_wordline_driver.add(gdstk.Label('wl_2', (11.335,2.815), layer=30, texttype=25))
ihp_wordline_driver.add(gdstk.Label('wl_3', (11.335,3.885), layer=30, texttype=25))
ihp_wordline_driver.add(gdstk.Label('wl_4', (11.335,4.955), layer=30, texttype=25))
ihp_wordline_driver.add(gdstk.Label('wl_5', (11.335,6.025), layer=30, texttype=25))
ihp_wordline_driver.add(gdstk.Label('wl_6', (11.335,7.095), layer=30, texttype=25))
ihp_wordline_driver.add(gdstk.Label('wl_7', (11.335,8.165), layer=30, texttype=25))
ihp_wordline_driver.add(gdstk.Label('wl_8', (11.335,9.235), layer=30, texttype=25))
ihp_wordline_driver.add(gdstk.Label('wl_9', (11.335,10.305), layer=30, texttype=25))
ihp_wordline_driver.add(gdstk.Label('wl_10', (11.335,11.375), layer=30, texttype=25))
ihp_wordline_driver.add(gdstk.Label('wl_11', (11.335,12.445), layer=30, texttype=25))
ihp_wordline_driver.add(gdstk.Label('wl_12', (11.335,13.515), layer=30, texttype=25))
ihp_wordline_driver.add(gdstk.Label('wl_13', (11.335,14.585), layer=30, texttype=25))
ihp_wordline_driver.add(gdstk.Label('wl_14', (11.335,15.655), layer=30, texttype=25))

lib.write_gds('ihp_wordline_driver.gds')
